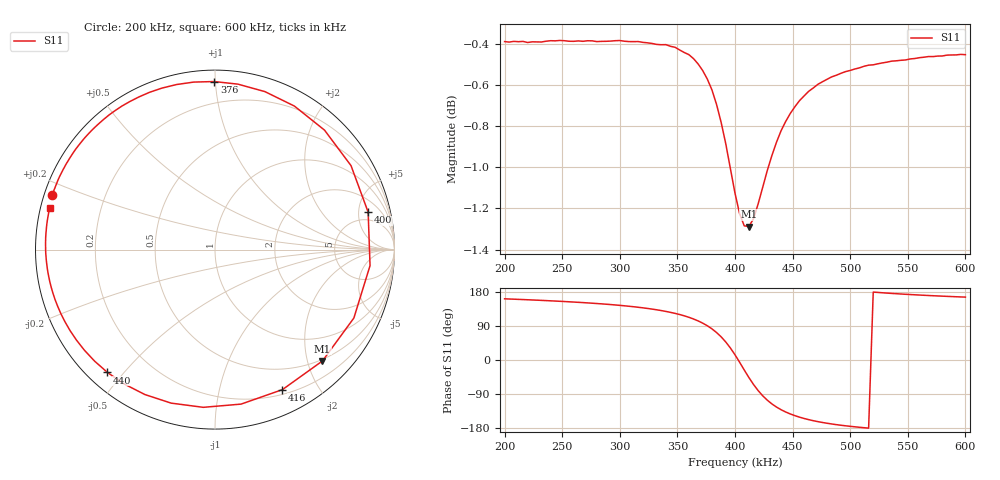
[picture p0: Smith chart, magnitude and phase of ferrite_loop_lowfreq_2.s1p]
# Hz S RI R 50
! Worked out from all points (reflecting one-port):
!   101 points, 200 kHz to 600 kHz, reference 50 ohm
!   lowest |S11| = -1.3 dB at 412 kHz (marker M1), VSWR 13.51, Z = 23.5 - j114 ohm
!   phase of S11 starts at 161 deg and turns -356 deg over the sweep
!   S11 on the Smith chart (normalised r, x): 200 kHz: 0.02, +0.16; 376 kHz: 0.07, +0.99; 400 kHz: 3.52, +6.42; 416 kHz: 0.25, -1.56; 440 kHz: 0.06, -0.45; 600 kHz: 0.03, +0.12
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200000  -0.9066 0.304
252000  -0.8619 0.4152
300000  -0.7757 0.5601
332000  -0.645 0.7038
352000  -0.4754 0.8245
364000  -0.2961 0.8997
372000  -0.118 0.9333
376000  -0.00447 0.9363
384000  0.2782 0.8802
388000  0.4426 0.7995
392000  0.6102 0.6656
396000  0.7579 0.4677
400000  0.8533 0.2085
404000  0.8638 -0.0894
408000  0.7737 -0.3811
412000  0.5988 -0.6203
416000  0.3758 -0.78
420000  0.1454 -0.8608
424000  -0.0652 -0.8788
428000  -0.2444 -0.8553
432000  -0.3909 -0.8074
440000  -0.599 -0.6846
452000  -0.7722 -0.5038
472000  -0.8912 -0.2781
500000  -0.9373 -0.0814
520000  -0.9438 0.0123
552000  -0.9394 0.1194
600000  -0.9208 0.2304
